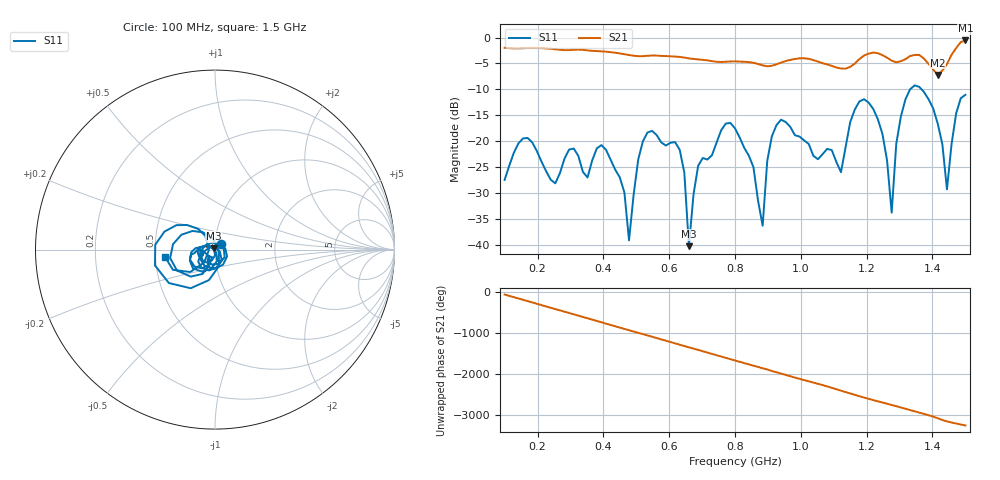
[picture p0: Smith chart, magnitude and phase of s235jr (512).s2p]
! NanoVNA-App
! Date: 2025-09-25 15:08:09
! Start: 100MHz Stop: 1,5GHz Points: 101
! S-Parameter data: F S11 S21 S12 S22
# Hz S RI R 50
!  Frequency  S11_Real  S11_Imag  S21_Real  S21_Imag  S12_Real  S12_Imag  S22_Real  S22_Imag
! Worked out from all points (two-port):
!   101 points, 100 MHz to 1.5 GHz, reference 50 ohm
!   highest |S21| = -0.55 dB at 1.5 GHz (marker M1); lowest = -7.2 dB at 1.416 GHz (marker M2)
!   |S21| within 3 dB of the highest: start of sweep to 500.7 MHz; 1.19 GHz to 1.253 GHz (62.41 MHz wide, 5.11 % of centre) (the widest 2 of 5)
!   lowest |S11| = -40.3 dB at 660 MHz (marker M3), VSWR 1.02, Z = 49.3 + j0.628 ohm
!   |S11| at or under -10 dB: start of sweep to 1.332 GHz; 1.367 GHz to end of sweep
!   S12 and S22 are empty: the file has one direction only
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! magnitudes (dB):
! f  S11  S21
! 100 MHz  -27.5  -2.0
! 156 MHz  -19.5  -2.1
! 338 MHz  -25.9  -2.4
! 408 MHz  -21.7  -2.7
! 478 MHz  -39.1  -3.4
! 520 MHz  -20.0  -3.6
! 576 MHz  -20.2  -3.5
! 632 MHz  -21.7  -3.7
! 660 MHz  -40.3  -4.0
! 688 MHz  -24.8  -4.2
! 800 MHz  -17.5  -4.6
! 884 MHz  -36.3  -5.4
! 926 MHz  -16.9  -5.2
! 1.038 GHz  -22.8  -4.3
! 1.122 GHz  -26.0  -6.0
! 1.192 GHz  -11.9  -3.5
! 1.248 GHz  -18.6  -3.4
! 1.276 GHz  -33.8  -4.5
! 1.332 GHz  -10.0  -3.6
! 1.416 GHz  -16.6  -7.2
! 1.444 GHz  -29.3  -5.1
! 1.5 GHz  -11.1  -0.6
